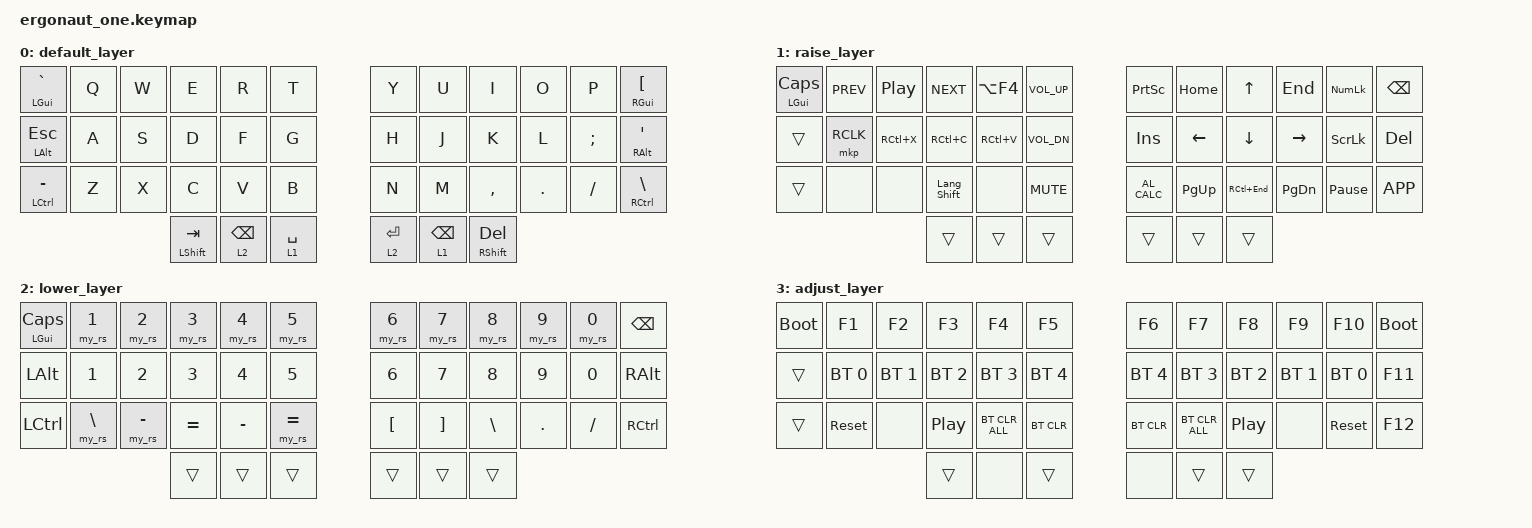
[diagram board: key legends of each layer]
#include <dt-bindings/zmk/mouse.h>
#include <behaviors.dtsi>
#include <dt-bindings/zmk/bt.h>
#include <dt-bindings/zmk/keys.h>
#include <dt-bindings/zmk/pointing.h>

#define DEF 0
#define LWR 1
#define RSE 2
#define ADJ 3

&lt { quick-tap-ms = <200>; };

&mt { quick-tap-ms = <200>; };

/ {
    conditional_layers {
        compatible = "zmk,conditional-layers";

        tri-layer {
            if-layers = <2 1>;
            then-layer = <3>;
        };
    };

    macros {
        Lang_Shift: Lang_Shift {
            compatible = "zmk,behavior-macro";
            #binding-cells = <0>;
            bindings = <&kp LA(LEFT_SHIFT) &kp LC(LEFT_SHIFT)>;
            label = "LANG_SHIFT";
            wait-ms = <5>;
            tap-ms = <5>;
        };

        my_rs: my_rs {
            compatible = "zmk,behavior-macro-one-param";
            #binding-cells = <1>;
            bindings =
                <&macro_press>,
                <&kp RIGHT_SHIFT>,
                <&macro_tap>,
                <&macro_param_1to1 &kp MACRO_PLACEHOLDER>,
                <&macro_release>,
                <&kp RIGHT_SHIFT>;

            label = "MY_RS";
            wait-ms = <20>;
        };

        my_rs_c: my_rs_c {
            compatible = "zmk,behavior-macro-one-param";
            #binding-cells = <1>;
            bindings =
                <&macro_press>,
                <&kp RIGHT_SHIFT>,
                <&macro_press>,
                <&macro_param_1to1 &kp MACRO_PLACEHOLDER>,
                <&macro_pause_for_release>,
                <&macro_release>,
                <&macro_param_1to1 &kp MACRO_PLACEHOLDER>,
                <&macro_release>,
                <&kp LEFT_SHIFT>;

            label = "MY_RS_C";
            wait-ms = <20>;
        };
    };

    keymap {
        compatible = "zmk,keymap";

        default_layer {
            bindings = <
&mt LGUI GRAVE          &kp Q  &kp W  &kp E               &kp R            &kp T        &kp Y        &kp U            &kp I                   &kp O    &kp P     &mt RGUI LEFT_BRACKET
&mt LEFT_ALT ESC        &kp A  &kp S  &kp D               &kp F            &kp G        &kp H        &kp J            &kp K                   &kp L    &kp SEMI  &mt RIGHT_ALT SQT
&mt LEFT_CONTROL MINUS  &kp Z  &kp X  &kp C               &kp V            &kp B        &kp N        &kp M            &kp COMMA               &kp DOT  &kp FSLH  &mt RIGHT_CONTROL BSLH
                                      &mt LEFT_SHIFT TAB  &lt 2 BACKSPACE  &lt 1 SPACE  &lt 2 ENTER  &lt 1 BACKSPACE  &mt RIGHT_SHIFT DELETE
            >;
        };

        raise_layer {
            bindings = <
&mt LGUI CAPS  &kp C_PREV  &kp C_PLAY_PAUSE  &kp C_NEXT   &kp LA(F4)  &kp C_VOL_UP  &kp PRINTSCREEN  &kp HOME     &kp UP_ARROW    &kp END    &kp KP_NUMLOCK   &kp BACKSPACE
&trans         &mkp RCLK   &kp RC(X)         &kp RC(C)    &kp RC(V)   &kp C_VOL_DN  &kp INSERT       &kp LEFT     &kp DOWN_ARROW  &kp RIGHT  &kp SCROLLLOCK   &kp DEL
&trans         &none       &none             &Lang_Shift  &none       &kp C_MUTE    &kp C_AL_CALC    &kp PAGE_UP  &kp RC(END)     &kp PG_DN  &kp PAUSE_BREAK  &kp K_APP
                                             &trans       &trans      &trans        &trans           &trans       &trans
            >;
        };

        lower_layer {
            bindings = <
&mt LGUI CAPSLOCK  &my_rs N1         &my_rs N2     &my_rs N3  &my_rs N4  &my_rs N5     &my_rs N6         &my_rs N7          &my_rs N8      &my_rs N9  &my_rs N0  &kp BACKSPACE
&kp LEFT_ALT       &kp N1            &kp N2        &kp N3     &kp N4     &kp N5        &kp N6            &kp N7             &kp N8         &kp N9     &kp N0     &kp RIGHT_ALT
&kp LEFT_CONTROL   &my_rs BACKSLASH  &my_rs MINUS  &kp EQUAL  &kp MINUS  &my_rs EQUAL  &kp LEFT_BRACKET  &kp RIGHT_BRACKET  &kp BACKSLASH  &kp DOT    &kp SLASH  &kp RIGHT_CONTROL
                                                   &trans     &trans     &trans        &trans            &trans             &trans
            >;
        };

        adjust_layer {
            bindings = <
&bootloader  &kp F1        &kp F2        &kp F3        &kp F4          &kp F5        &kp F6        &kp F7          &kp F8        &kp F9        &kp F10       &bootloader
&trans       &bt BT_SEL 0  &bt BT_SEL 1  &bt BT_SEL 2  &bt BT_SEL 3    &bt BT_SEL 4  &bt BT_SEL 4  &bt BT_SEL 3    &bt BT_SEL 2  &bt BT_SEL 1  &bt BT_SEL 0  &kp F11
&trans       &sys_reset    &none         &kp C_PP      &bt BT_CLR_ALL  &bt BT_CLR    &bt BT_CLR    &bt BT_CLR_ALL  &kp C_PP      &none         &sys_reset    &kp F12
                                         &trans        &none           &trans        &none         &trans          &trans
            >;
        };
    };
};
